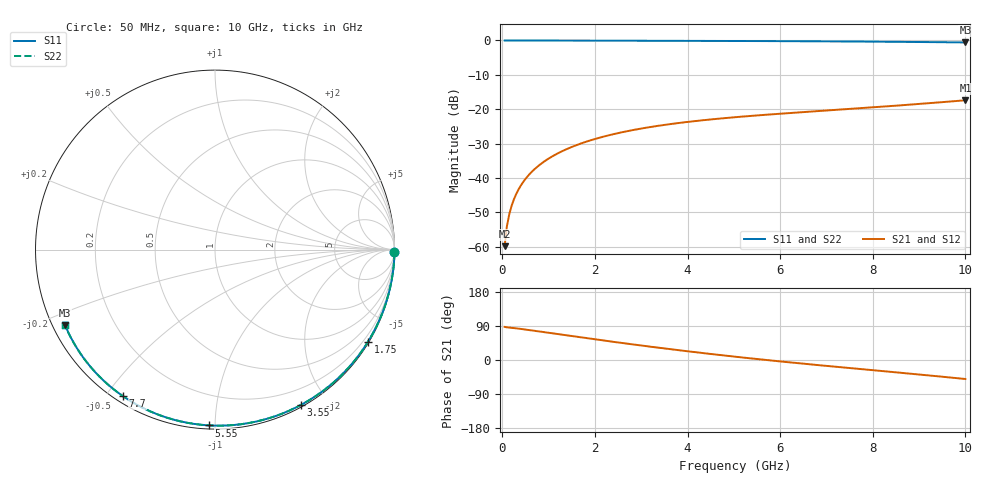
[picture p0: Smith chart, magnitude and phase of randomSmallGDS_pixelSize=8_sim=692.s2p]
! freq	dB(S11)	phase(S11)	dB(S12)	phase(S12)
!  dB(S21)	phase(S21)	dB(S22)	phase(S22)
!S-par simulation data
#  GHz  S  DB  R 50
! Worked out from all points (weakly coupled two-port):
!   200 points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, 50 MHz to 10 GHz, reference 50 ohm
!   highest |S21| = -17.40 dB at 10 GHz (marker M1); lowest = -59.8 dB at 50 MHz (marker M2)
!   lowest |S11| = -0.6 dB at 10 GHz (marker M3), VSWR 30.00, Z = 1.76 - j11.8 ohm
!   |S11| at or under -10 dB: nowhere
!   |S22| runs from -0.6 to 0.0 dB; largest |S21 - S12| = 0
!   S11 on the Smith chart (normalised r, x): 50 MHz: open; 1.75 GHz: 0.04, -3.60; 3.55 GHz: 0.02, -1.69; 5.55 GHz: 0.02, -0.97; 7.7 GHz: 0.02, -0.55; 10 GHz: 0.04, -0.24
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0.05  -0.00 -0.9  -59.83 87.4  -59.83 87.4  -0.00 -0.9
0.1  -0.00 -1.8  -54.00 86.3  -54.00 86.3  -0.00 -1.8
0.15  -0.00 -2.7  -50.58 85.6  -50.58 85.6  -0.00 -2.7
0.2  -0.00 -3.6  -48.14 85.0  -48.14 85.0  -0.00 -3.6
0.25  -0.00 -4.5  -46.23 84.3  -46.23 84.3  -0.00 -4.5
0.35  -0.00 -6.3  -43.34 82.8  -43.34 82.8  -0.00 -6.3
0.5  -0.01 -9.0  -40.28 80.4  -40.28 80.4  -0.01 -9.0
0.7  -0.01 -12.6  -37.39 77.0  -37.39 77.0  -0.01 -12.6
1  -0.02 -17.9  -34.35 71.8  -34.35 71.8  -0.02 -17.9
1.35  -0.03 -24.1  -31.84 65.7  -31.84 65.7  -0.03 -24.1
1.75  -0.04 -31.0  -29.72 58.8  -29.72 58.8  -0.04 -31.1
2.5  -0.06 -43.9  -26.95 46.3  -26.95 46.3  -0.06 -43.9
3.4  -0.09 -58.8  -24.76 32.0  -24.76 32.0  -0.09 -58.8
3.55  -0.10 -61.2  -24.47 29.7  -24.47 29.7  -0.10 -61.2
4.3  -0.12 -73.0  -23.25 18.7  -23.25 18.7  -0.12 -73.1
5.05  -0.15 -84.5  -22.29 8.4  -22.29 8.4  -0.15 -84.5
5.55  -0.17 -91.9  -21.75 1.9  -21.75 1.9  -0.17 -91.9
6.7  -0.24 -108.3  -20.66 -12.1  -20.66 -12.1  -0.24 -108.4
7.7  -0.32 -122.1  -19.74 -23.5  -19.74 -23.5  -0.32 -122.2
8.35  -0.38 -130.9  -19.12 -30.8  -19.12 -30.8  -0.38 -131.0
9.2  -0.47 -142.4  -18.26 -40.6  -18.26 -40.6  -0.47 -142.5
10  -0.58 -153.3  -17.40 -50.1  -17.40 -50.1  -0.58 -153.4
